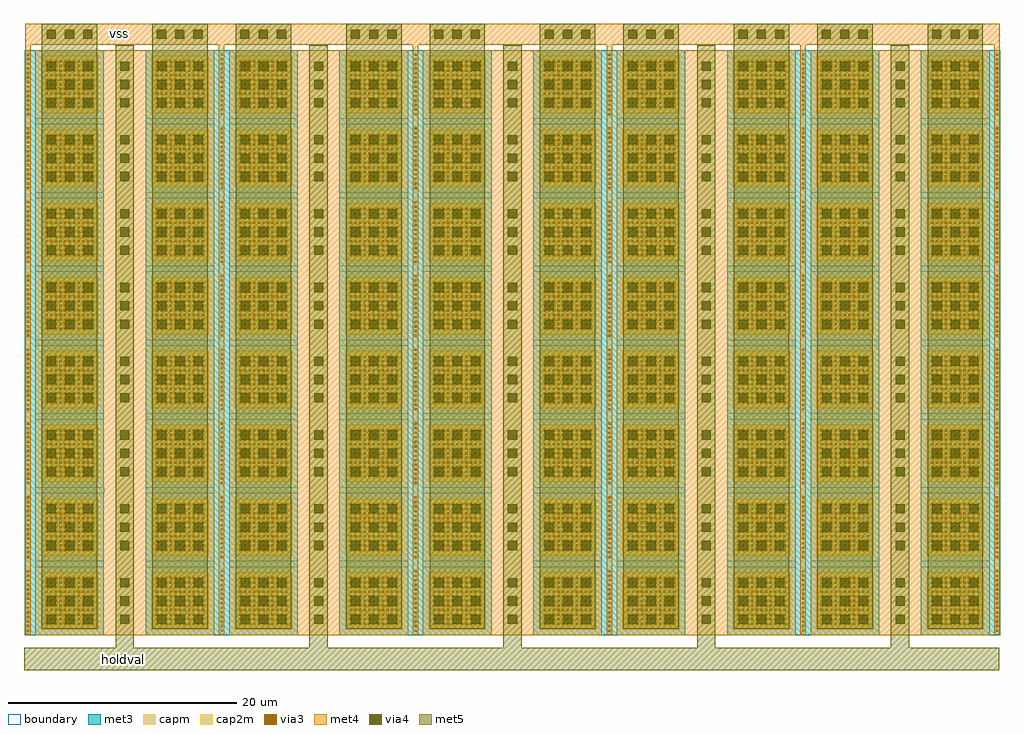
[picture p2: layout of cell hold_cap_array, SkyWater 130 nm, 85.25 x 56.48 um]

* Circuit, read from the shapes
.subckt hold_cap_array holdval vss
XC1 holdval vss sky130_fd_pr__cap_mim_m3_1 w=5 l=5 m=80
XC2 vss holdval sky130_fd_pr__cap_mim_m3_2 w=5 l=5 m=80
.ends

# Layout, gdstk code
from math import pi, radians
import gdstk
lib = gdstk.Library(unit=1e-6, precision=1e-09)
def R(c, l, rs):  # rectangles x0, y0, x1, y1
    for r in rs: c.add(gdstk.rectangle(r[:2], r[2:], *l))
def A(c, l, x, y, w, h, nx, ny, dx, dy):  # array of equal rectangles
    R(c, l, [(x+i*dx, y+j*dy, x+i*dx+w, y+j*dy+h) for i in range(nx) for j in range(ny)])
met3 = (70, 20)
via3 = (70, 44)
met4 = (71, 20)
via4 = (71, 44)
met5 = (72, 20)
capm = (89, 44)
cap2m = (97, 44)
boundary = (235, 4)

sky130_fd_pr__cap_mim_m3 = lib.new_cell('sky130_fd_pr__cap_mim_m3_2_VCAE9S')
R(sky130_fd_pr__cap_mim_m3, met4, [(-4.255,-3,4.255,3)])
A(sky130_fd_pr__cap_mim_m3, via4, -3.255, -2, 0.8, 0.8, 3, 3, 1.6, 1.6)
A(sky130_fd_pr__cap_mim_m3, via4, 3.165, -2, 0.8, 0.8, 1, 3, 0, 1.6)
R(sky130_fd_pr__cap_mim_m3, met5, [(2.765,-3.005,4.365,3.44), (-3.675,-2.42,1.165,2.42)])
R(sky130_fd_pr__cap_mim_m3, cap2m, [(-3.755,-2.5,1.245,2.5)])
R(sky130_fd_pr__cap_mim_m3, boundary, [(-4.255,-3,1.745,3)])

c_sky130_fd_pr__cap_mim_m3 = lib.new_cell('sky130_fd_pr__cap_mim_m3_1_VCAG9S')
R(c_sky130_fd_pr__cap_mim_m3, met3, [(-3.25,-3,3.655,3)])
A(c_sky130_fd_pr__cap_mim_m3, via3, 3.295, -2.7, 0.2, 0.2, 1, 14, 0, 0.4)
A(c_sky130_fd_pr__cap_mim_m3, via3, -2.35, -2.1, 0.2, 0.2, 11, 11, 0.4, 0.4)
R(c_sky130_fd_pr__cap_mim_m3, met4, [(3.155,-2.94,3.635,3.505), (-2.555,-2.305,2.055,2.305)])
R(c_sky130_fd_pr__cap_mim_m3, capm, [(-2.75,-2.5,2.25,2.5)])
R(c_sky130_fd_pr__cap_mim_m3, boundary, [(-3.25,-3,2.75,3)])

hold_cap_array = lib.new_cell('hold_cap_array')
A(hold_cap_array, met3, 20.61, -123.705, 13.29, 0.445, 4, 7, 16.93, 6.445)
A(hold_cap_array, met3, 88.33, -123.705, 6.905, 0.445, 1, 7, 0, 6.445)
A(hold_cap_array, met3, 10.065, -110.815, 6.905, 0.445, 1, 5, 0, 6.445)
R(hold_cap_array, met3, [(10.065,-123.705,16.97,-123.26), (10.065,-117.26,16.975,-116.815)])
A(hold_cap_array, met4, 10.97, -123.705, 15.64, 0.445, 5, 7, 16.93, 6.445)
R(hold_cap_array, met4, [(10.085,-78.115,95.23,-76.285)])
A(hold_cap_array, via4, 11.96, -77.61, 0.8, 0.8, 3, 1, 1.6, 0)
A(hold_cap_array, via4, 28.88, -77.61, 0.8, 0.8, 3, 1, 1.6, 0)
A(hold_cap_array, via4, 45.805, -77.61, 0.8, 0.8, 3, 1, 1.6, 0)
A(hold_cap_array, via4, 62.745, -77.61, 0.8, 0.8, 3, 1, 1.6, 0)
A(hold_cap_array, via4, 79.665, -77.61, 0.8, 0.8, 3, 1, 1.6, 0)
A(hold_cap_array, via4, 21.59, -77.6, 0.8, 0.8, 3, 1, 1.6, 0)
A(hold_cap_array, via4, 38.53, -77.6, 0.8, 0.8, 3, 1, 1.6, 0)
A(hold_cap_array, via4, 55.455, -77.6, 0.8, 0.8, 3, 1, 1.6, 0)
A(hold_cap_array, via4, 72.385, -77.6, 0.8, 0.8, 3, 1, 1.6, 0)
A(hold_cap_array, via4, 89.315, -77.6, 0.8, 0.8, 3, 1, 1.6, 0)
A(hold_cap_array, met5, 17.99, -130.79, 1.6, 1.19, 5, 1, 16.93, 0)
A(hold_cap_array, met5, 11.55, -124.285, 4.84, 1.605, 1, 7, 0, 6.445)
A(hold_cap_array, met5, 21.19, -124.285, 4.84, 1.605, 1, 7, 0, 6.445)
A(hold_cap_array, met5, 28.48, -124.285, 4.84, 1.605, 1, 7, 0, 6.445)
A(hold_cap_array, met5, 38.12, -124.285, 4.84, 1.605, 1, 7, 0, 6.445)
A(hold_cap_array, met5, 45.41, -124.285, 4.84, 1.605, 1, 7, 0, 6.445)
A(hold_cap_array, met5, 55.05, -124.285, 4.84, 1.605, 1, 7, 0, 6.445)
A(hold_cap_array, met5, 62.34, -124.285, 4.84, 1.605, 1, 7, 0, 6.445)
A(hold_cap_array, met5, 71.98, -124.285, 4.84, 1.605, 1, 7, 0, 6.445)
A(hold_cap_array, met5, 79.27, -124.285, 4.84, 1.605, 1, 7, 0, 6.445)
A(hold_cap_array, met5, 88.91, -124.285, 4.84, 1.605, 1, 7, 0, 6.445)
R(hold_cap_array, met5, [(9.985,-132.765,95.155,-130.79), (11.55,-79.17,16.39,-76.285), (21.19,-79.17,26.03,-76.285), (28.48,-79.17,33.32,-76.285), (38.12,-79.17,42.96,-76.285), (45.41,-79.17,50.25,-76.285), (55.05,-79.17,59.89,-76.285), (62.34,-79.17,67.18,-76.285), (71.98,-79.17,76.82,-76.285), (79.27,-79.17,84.11,-76.285), (88.91,-79.17,93.75,-76.285)])
r = gdstk.Reference(sky130_fd_pr__cap_mim_m3, (15.225,-126.705)); r.repetition = gdstk.Repetition(1, 8, v1=(8.62,0), v2=(0,6.445)); hold_cap_array.add(r)
r = gdstk.Reference(sky130_fd_pr__cap_mim_m3, (22.355,-126.705), rotation=pi, x_reflection=True); r.repetition = gdstk.Repetition(1, 8, v1=(8.62,0), v2=(0,6.445)); hold_cap_array.add(r)
r = gdstk.Reference(c_sky130_fd_pr__cap_mim_m3, (13.72,-126.705), rotation=pi, x_reflection=True); r.repetition = gdstk.Repetition(1, 8, v1=(6.905,0), v2=(0,6.445)); hold_cap_array.add(r)
r = gdstk.Reference(c_sky130_fd_pr__cap_mim_m3, (23.86,-126.705)); r.repetition = gdstk.Repetition(1, 8, v1=(6.905,0), v2=(0,6.445)); hold_cap_array.add(r)
r = gdstk.Reference(c_sky130_fd_pr__cap_mim_m3, (30.65,-126.705), rotation=pi, x_reflection=True); r.repetition = gdstk.Repetition(1, 8, v1=(6.905,0), v2=(0,6.445)); hold_cap_array.add(r)
r = gdstk.Reference(sky130_fd_pr__cap_mim_m3, (32.155,-126.705)); r.repetition = gdstk.Repetition(1, 8, v1=(8.62,0), v2=(0,6.445)); hold_cap_array.add(r)
r = gdstk.Reference(sky130_fd_pr__cap_mim_m3, (39.285,-126.705), rotation=pi, x_reflection=True); r.repetition = gdstk.Repetition(1, 8, v1=(8.62,0), v2=(0,6.445)); hold_cap_array.add(r)
r = gdstk.Reference(c_sky130_fd_pr__cap_mim_m3, (40.79,-126.705)); r.repetition = gdstk.Repetition(1, 8, v1=(6.905,0), v2=(0,6.445)); hold_cap_array.add(r)
r = gdstk.Reference(c_sky130_fd_pr__cap_mim_m3, (47.58,-126.705), rotation=pi, x_reflection=True); r.repetition = gdstk.Repetition(1, 8, v1=(6.905,0), v2=(0,6.445)); hold_cap_array.add(r)
r = gdstk.Reference(sky130_fd_pr__cap_mim_m3, (49.085,-126.705)); r.repetition = gdstk.Repetition(1, 8, v1=(8.62,0), v2=(0,6.445)); hold_cap_array.add(r)
r = gdstk.Reference(sky130_fd_pr__cap_mim_m3, (56.215,-126.705), rotation=pi, x_reflection=True); r.repetition = gdstk.Repetition(1, 8, v1=(8.62,0), v2=(0,6.445)); hold_cap_array.add(r)
r = gdstk.Reference(sky130_fd_pr__cap_mim_m3, (66.015,-126.705)); r.repetition = gdstk.Repetition(1, 8, v1=(8.62,0), v2=(0,6.445)); hold_cap_array.add(r)
r = gdstk.Reference(c_sky130_fd_pr__cap_mim_m3, (57.72,-126.705)); r.repetition = gdstk.Repetition(1, 8, v1=(6.905,0), v2=(0,6.445)); hold_cap_array.add(r)
r = gdstk.Reference(c_sky130_fd_pr__cap_mim_m3, (64.51,-126.705), rotation=pi, x_reflection=True); r.repetition = gdstk.Repetition(1, 8, v1=(6.905,0), v2=(0,6.445)); hold_cap_array.add(r)
r = gdstk.Reference(sky130_fd_pr__cap_mim_m3, (73.145,-126.705), rotation=pi, x_reflection=True); r.repetition = gdstk.Repetition(1, 8, v1=(8.62,0), v2=(0,6.445)); hold_cap_array.add(r)
r = gdstk.Reference(sky130_fd_pr__cap_mim_m3, (82.945,-126.705)); r.repetition = gdstk.Repetition(1, 8, v1=(8.62,0), v2=(0,6.445)); hold_cap_array.add(r)
r = gdstk.Reference(c_sky130_fd_pr__cap_mim_m3, (74.65,-126.705)); r.repetition = gdstk.Repetition(1, 8, v1=(6.905,0), v2=(0,6.445)); hold_cap_array.add(r)
r = gdstk.Reference(c_sky130_fd_pr__cap_mim_m3, (81.44,-126.705), rotation=pi, x_reflection=True); r.repetition = gdstk.Repetition(1, 8, v1=(6.905,0), v2=(0,6.445)); hold_cap_array.add(r)
r = gdstk.Reference(sky130_fd_pr__cap_mim_m3, (90.075,-126.705), rotation=pi, x_reflection=True); r.repetition = gdstk.Repetition(1, 8, v1=(8.62,0), v2=(0,6.445)); hold_cap_array.add(r)
r = gdstk.Reference(c_sky130_fd_pr__cap_mim_m3, (91.58,-126.705)); r.repetition = gdstk.Repetition(1, 8, v1=(6.905,0), v2=(0,6.445)); hold_cap_array.add(r)
hold_cap_array.add(gdstk.Label('vss', (18.32,-77.115), layer=71, texttype=5))
hold_cap_array.add(gdstk.Label('holdval', (18.655,-131.82), layer=72, texttype=5))

lib.write_gds('hold_cap_array.gds')
